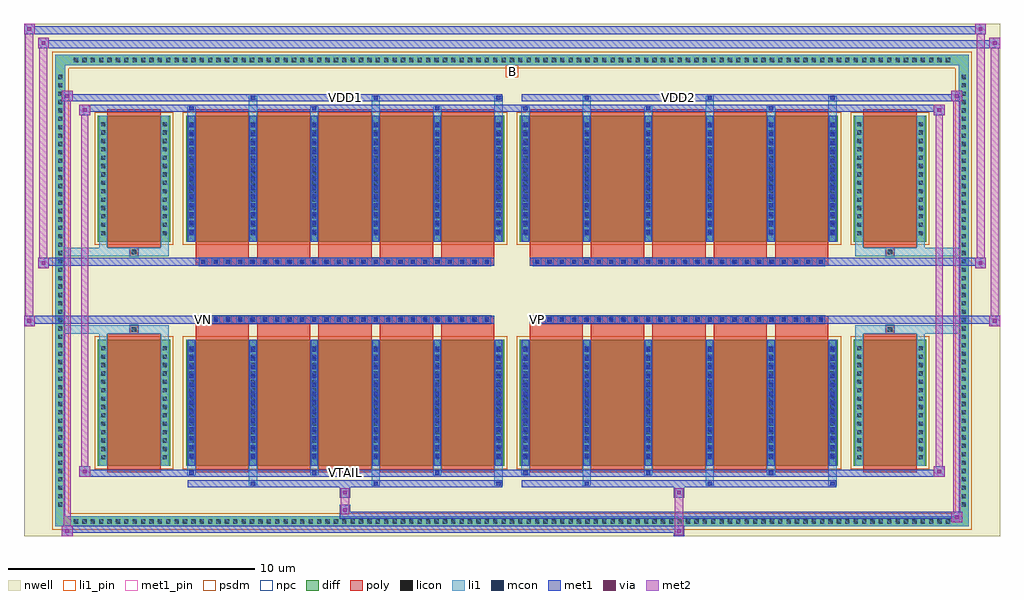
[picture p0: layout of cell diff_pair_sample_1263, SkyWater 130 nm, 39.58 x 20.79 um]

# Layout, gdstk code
import gdstk
lib = gdstk.Library(unit=1e-6, precision=5e-09)
def R(c, l, rs):  # rectangles x0, y0, x1, y1
    for r in rs: c.add(gdstk.rectangle(r[:2], r[2:], *l))
def A(c, l, x, y, w, h, nx, ny, dx, dy):  # array of equal rectangles
    R(c, l, [(x+i*dx, y+j*dy, x+i*dx+w, y+j*dy+h) for i in range(nx) for j in range(ny)])
def P(c, l, *ps):  # polygons
    for p in ps: c.add(gdstk.Polygon(p, *l))
nwell = (64, 20)
diff = (65, 20)
poly = (66, 20)
licon = (66, 44)
li1_pin = (67, 16)
li1 = (67, 20)
mcon = (67, 44)
met1_pin = (68, 16)
met1 = (68, 20)
via = (68, 44)
met2 = (69, 20)
psdm = (94, 20)
npc = (95, 20)

diff_pair_sample_1263 = lib.new_cell('diff_pair_sample_1263')
R(diff_pair_sample_1263, nwell, [(-19.79,-9.96,19.79,10.83), (-17.11,-8.15,-0.01,-0.805), (0.01,-8.15,17.11,-0.805), (-17.11,0.805,-0.01,8.15), (0.01,0.805,17.11,8.15)])
A(diff_pair_sample_1263, diff, -17.885, -9.56, 0.41, 0.41, 105, 2, 0.34, 18.71)
A(diff_pair_sample_1263, diff, -18.52, -8.875, 0.41, 0.41, 1, 52, 0, 0.34)
A(diff_pair_sample_1263, diff, 18.11, -8.875, 0.41, 0.41, 1, 52, 0, 0.34)
R(diff_pair_sample_1263, diff, [(-17.885,-9.56,17.885,-9.15), (-18.52,-8.875,-18.11,8.875), (18.11,-8.875,18.52,8.875), (-16.8,-7.105,-13.86,-1.985), (-13.22,-7.105,-0.32,-1.985), (0.32,-7.105,13.22,-1.985), (13.86,-7.105,16.8,-1.985), (-16.8,1.985,-13.86,7.105), (-13.22,1.985,-0.32,7.105), (0.32,1.985,13.22,7.105), (13.86,1.985,16.8,7.105), (-17.885,9.15,17.885,9.56)])
P(diff_pair_sample_1263, diff, [(18.52,9.56),(-18.52,9.56),(-18.52,-9.15),(-18.11,-9.15),(-18.11,9.15),(18.11,9.15),(18.11,-9.15),(-18.11,-9.15),(-18.52,-9.15),(-18.52,-9.56),(18.52,-9.56)])
A(diff_pair_sample_1263, poly, -12.83, -7.355, 2.16, 5.62, 5, 2, 2.49, 9.09)
A(diff_pair_sample_1263, poly, 0.71, -7.355, 2.16, 5.62, 5, 2, 2.49, 9.09)
A(diff_pair_sample_1263, poly, -12.83, -1.735, 2.16, 0.4, 5, 2, 2.49, 3.07)
A(diff_pair_sample_1263, poly, 0.71, -1.735, 2.16, 0.4, 5, 2, 2.49, 3.07)
A(diff_pair_sample_1263, poly, -12.685, -1.335, 0.33, 0.33, 24, 2, 0.5, 2.34)
A(diff_pair_sample_1263, poly, 0.855, -1.335, 0.33, 0.33, 24, 2, 0.5, 2.34)
R(diff_pair_sample_1263, poly, [(-16.41,-7.355,-14.25,-1.735), (14.25,-7.355,16.41,-1.735), (-15.495,-1.735,-15.165,-1.405), (-15.495,-1.735,-15.165,-1.405), (15.165,-1.735,15.495,-1.405), (15.165,-1.735,15.495,-1.405), (-12.83,-1.335,-0.71,-1.005), (0.71,-1.335,12.83,-1.005), (-12.83,1.005,-0.71,1.335), (0.71,1.005,12.83,1.335), (-15.495,1.405,-15.165,1.735), (-15.495,1.405,-15.165,1.735), (15.165,1.405,15.495,1.735), (15.165,1.405,15.495,1.735), (-16.41,1.735,-14.25,7.355), (14.25,1.735,16.41,7.355)])
A(diff_pair_sample_1263, licon, -17.765, -9.44, 0.17, 0.17, 105, 2, 0.34, 18.71)
A(diff_pair_sample_1263, licon, -18.4, -8.755, 0.17, 0.17, 1, 52, 0, 0.34)
A(diff_pair_sample_1263, licon, 18.23, -8.755, 0.17, 0.17, 1, 52, 0, 0.34)
A(diff_pair_sample_1263, licon, -16.66, -6.84, 0.17, 0.17, 1, 14, 0, 0.34)
A(diff_pair_sample_1263, licon, -14.17, -6.84, 0.17, 0.17, 1, 14, 0, 0.34)
A(diff_pair_sample_1263, licon, -13.08, -6.84, 0.17, 0.17, 6, 14, 2.49, 0.34)
A(diff_pair_sample_1263, licon, 0.46, -6.84, 0.17, 0.17, 6, 14, 2.49, 0.34)
A(diff_pair_sample_1263, licon, 14, -6.84, 0.17, 0.17, 1, 14, 0, 0.34)
A(diff_pair_sample_1263, licon, 16.49, -6.84, 0.17, 0.17, 1, 14, 0, 0.34)
A(diff_pair_sample_1263, licon, -12.605, -1.255, 0.17, 0.17, 24, 2, 0.5, 2.34)
A(diff_pair_sample_1263, licon, 0.935, -1.255, 0.17, 0.17, 24, 2, 0.5, 2.34)
A(diff_pair_sample_1263, licon, -16.66, 2.25, 0.17, 0.17, 1, 14, 0, 0.34)
A(diff_pair_sample_1263, licon, -14.17, 2.25, 0.17, 0.17, 1, 14, 0, 0.34)
A(diff_pair_sample_1263, licon, -13.08, 2.25, 0.17, 0.17, 6, 14, 2.49, 0.34)
A(diff_pair_sample_1263, licon, 0.46, 2.25, 0.17, 0.17, 6, 14, 2.49, 0.34)
A(diff_pair_sample_1263, licon, 14, 2.25, 0.17, 0.17, 1, 14, 0, 0.34)
A(diff_pair_sample_1263, licon, 16.49, 2.25, 0.17, 0.17, 1, 14, 0, 0.34)
R(diff_pair_sample_1263, licon, [(-15.415,-1.655,-15.245,-1.485), (15.245,-1.655,15.415,-1.485), (-15.415,1.485,-15.245,1.655), (15.245,1.485,15.415,1.655)])
R(diff_pair_sample_1263, li1_pin, [(-0.25,8.65,0.25,9.15)])
A(diff_pair_sample_1263, li1, -17.845, -9.52, 0.33, 0.33, 105, 2, 0.34, 18.71)
A(diff_pair_sample_1263, li1, -18.48, -8.835, 0.33, 0.33, 1, 52, 0, 0.34)
A(diff_pair_sample_1263, li1, 18.15, -8.835, 0.33, 0.33, 1, 52, 0, 0.34)
A(diff_pair_sample_1263, li1, -10.67, -7.91, 0.33, 0.805, 3, 2, 4.98, 15.015)
A(diff_pair_sample_1263, li1, -10.59, -7.91, 0.17, 0.17, 3, 2, 4.98, 15.65)
A(diff_pair_sample_1263, li1, 2.87, -7.91, 0.33, 0.805, 3, 2, 4.98, 15.015)
A(diff_pair_sample_1263, li1, 2.95, -7.91, 0.17, 0.17, 3, 2, 4.98, 15.65)
A(diff_pair_sample_1263, li1, -13.16, -7.48, 0.33, 0.375, 3, 2, 4.98, 14.585)
A(diff_pair_sample_1263, li1, -13.08, -7.48, 0.17, 0.17, 3, 2, 4.98, 14.79)
A(diff_pair_sample_1263, li1, 0.38, -7.48, 0.33, 0.375, 3, 2, 4.98, 14.585)
A(diff_pair_sample_1263, li1, 0.46, -7.48, 0.17, 0.17, 3, 2, 4.98, 14.79)
A(diff_pair_sample_1263, li1, -13.16, -7.105, 0.33, 5.12, 6, 2, 2.49, 9.09)
A(diff_pair_sample_1263, li1, 0.38, -7.105, 0.33, 5.12, 6, 2, 2.49, 9.09)
A(diff_pair_sample_1263, li1, -16.74, -6.92, 0.33, 0.33, 1, 14, 0, 0.34)
A(diff_pair_sample_1263, li1, -14.25, -6.92, 0.33, 0.33, 1, 14, 0, 0.34)
A(diff_pair_sample_1263, li1, -13.16, -6.92, 0.33, 0.33, 6, 14, 2.49, 0.34)
A(diff_pair_sample_1263, li1, 0.38, -6.92, 0.33, 0.33, 6, 14, 2.49, 0.34)
A(diff_pair_sample_1263, li1, 13.92, -6.92, 0.33, 0.33, 1, 14, 0, 0.34)
A(diff_pair_sample_1263, li1, 16.41, -6.92, 0.33, 0.33, 1, 14, 0, 0.34)
A(diff_pair_sample_1263, li1, -13.08, -6.79, 0.17, 0.17, 6, 13, 2.49, 0.36)
A(diff_pair_sample_1263, li1, -13.08, -6.79, 0.17, 4.49, 6, 2, 2.49, 9.09)
A(diff_pair_sample_1263, li1, 0.46, -6.79, 0.17, 0.17, 6, 13, 2.49, 0.36)
A(diff_pair_sample_1263, li1, 0.46, -6.79, 0.17, 4.49, 6, 2, 2.49, 9.09)
A(diff_pair_sample_1263, li1, -12.685, -1.335, 0.33, 0.33, 24, 2, 0.5, 2.34)
A(diff_pair_sample_1263, li1, 0.855, -1.335, 0.33, 0.33, 24, 2, 0.5, 2.34)
A(diff_pair_sample_1263, li1, -16.74, 2.17, 0.33, 0.33, 1, 14, 0, 0.34)
A(diff_pair_sample_1263, li1, -14.25, 2.17, 0.33, 0.33, 1, 14, 0, 0.34)
A(diff_pair_sample_1263, li1, -13.16, 2.17, 0.33, 0.33, 6, 14, 2.49, 0.34)
A(diff_pair_sample_1263, li1, 0.38, 2.17, 0.33, 0.33, 6, 14, 2.49, 0.34)
A(diff_pair_sample_1263, li1, 13.92, 2.17, 0.33, 0.33, 1, 14, 0, 0.34)
A(diff_pair_sample_1263, li1, 16.41, 2.17, 0.33, 0.33, 1, 14, 0, 0.34)
A(diff_pair_sample_1263, li1, -13.08, 2.3, 0.17, 0.17, 6, 13, 2.49, 0.36)
A(diff_pair_sample_1263, li1, 0.46, 2.3, 0.17, 0.17, 6, 13, 2.49, 0.36)
R(diff_pair_sample_1263, li1, [(-18.52,-9.56,-18.11,-9.15), (-18.52,-9.56,-18.11,-9.15), (-18.11,-9.56,18.11,-9.15), (18.11,-9.56,18.52,-9.15), (18.11,-9.56,18.52,-9.15), (-18.52,-9.15,-18.11,9.15), (18.11,-9.15,18.52,9.15), (-16.74,-7.105,-16.41,-1.985), (-14.25,-7.105,-13.92,-1.985), (13.92,-7.105,14.25,-1.985), (16.41,-7.105,16.74,-1.985), (-16.74,-1.985,-16.41,-1.405), (-14.25,-1.985,-13.92,-1.405), (13.92,-1.985,14.25,-1.405), (16.41,-1.985,16.74,-1.405), (-18.52,-1.735,-15.495,-1.405), (-16.74,-1.735,-15.495,-1.405), (-15.495,-1.735,-15.165,-1.405), (-15.165,-1.735,-13.92,-1.405), (13.92,-1.735,15.165,-1.405), (15.165,-1.735,15.495,-1.405), (15.165,-1.735,18.52,-1.405), (15.495,-1.735,16.74,-1.405), (-18.52,1.405,-15.495,1.735), (-16.74,1.405,-15.495,1.735), (-16.74,1.405,-16.41,1.985), (-15.495,1.405,-15.165,1.735), (-15.165,1.405,-13.92,1.735), (-14.25,1.405,-13.92,1.985), (13.92,1.405,15.165,1.735), (13.92,1.405,14.25,1.985), (15.165,1.405,15.495,1.735), (15.165,1.405,18.52,1.735), (15.495,1.405,16.74,1.735), (16.41,1.405,16.74,1.985), (-16.74,1.985,-16.41,7.105), (-14.25,1.985,-13.92,7.105), (13.92,1.985,14.25,7.105), (16.41,1.985,16.74,7.105), (-18.52,9.15,-18.11,9.56), (-18.52,9.15,-18.11,9.56), (-18.11,9.15,18.11,9.56), (18.11,9.15,18.52,9.56), (18.11,9.15,18.52,9.56)])
A(diff_pair_sample_1263, mcon, -10.59, -7.91, 0.17, 0.17, 3, 2, 4.98, 15.65)
A(diff_pair_sample_1263, mcon, 2.95, -7.91, 0.17, 0.17, 3, 2, 4.98, 15.65)
A(diff_pair_sample_1263, mcon, -13.08, -7.48, 0.17, 0.17, 3, 2, 4.98, 14.79)
A(diff_pair_sample_1263, mcon, 0.46, -7.48, 0.17, 0.17, 3, 2, 4.98, 14.79)
A(diff_pair_sample_1263, mcon, -13.08, -6.79, 0.17, 0.17, 6, 13, 2.49, 0.36)
A(diff_pair_sample_1263, mcon, 0.46, -6.79, 0.17, 0.17, 6, 13, 2.49, 0.36)
A(diff_pair_sample_1263, mcon, -12.605, -1.255, 0.17, 0.17, 24, 2, 0.5, 2.34)
A(diff_pair_sample_1263, mcon, 0.935, -1.255, 0.17, 0.17, 24, 2, 0.5, 2.34)
A(diff_pair_sample_1263, mcon, -13.08, 2.3, 0.17, 0.17, 6, 13, 2.49, 0.36)
A(diff_pair_sample_1263, mcon, 0.46, 2.3, 0.17, 0.17, 6, 13, 2.49, 0.36)
R(diff_pair_sample_1263, met1_pin, [(-6.905,-7.52,-6.635,-7.25), (-12.655,-1.295,-12.385,-1.025), (0.885,-1.295,1.155,-1.025), (-6.905,7.7,-6.635,7.97), (6.635,7.7,6.905,7.97)])
A(diff_pair_sample_1263, met1, -10.65, -7.97, 0.29, 0.29, 3, 2, 4.98, 15.65)
A(diff_pair_sample_1263, met1, 2.89, -7.97, 0.29, 0.29, 3, 2, 4.98, 15.65)
A(diff_pair_sample_1263, met1, -13.14, -7.54, 0.29, 0.29, 3, 2, 4.98, 14.79)
A(diff_pair_sample_1263, met1, 0.4, -7.54, 0.29, 0.29, 3, 2, 4.98, 14.79)
A(diff_pair_sample_1263, met1, -13.14, -7.105, 0.29, 5.12, 6, 2, 2.49, 9.09)
A(diff_pair_sample_1263, met1, 0.4, -7.105, 0.29, 5.12, 6, 2, 2.49, 9.09)
A(diff_pair_sample_1263, met1, -13.14, -6.85, 0.29, 0.29, 6, 13, 2.49, 0.36)
A(diff_pair_sample_1263, met1, 0.4, -6.85, 0.29, 0.29, 6, 13, 2.49, 0.36)
A(diff_pair_sample_1263, met1, -12.665, -1.315, 0.29, 0.29, 24, 2, 0.5, 2.34)
A(diff_pair_sample_1263, met1, 0.875, -1.315, 0.29, 0.29, 24, 2, 0.5, 2.34)
A(diff_pair_sample_1263, met1, -13.14, 2.24, 0.29, 0.29, 6, 13, 2.49, 0.36)
A(diff_pair_sample_1263, met1, 0.4, 2.24, 0.29, 0.29, 6, 13, 2.49, 0.36)
R(diff_pair_sample_1263, met1, [(-18.25,-9.96,-17.82,-9.53), (6.555,-9.96,6.985,-9.53), (-18.25,-9.82,6.985,-9.53), (17.82,-9.39,18.25,-8.96), (-6.985,-9.25,18.25,-8.96), (-6.985,-9.11,-6.555,-8.68), (-6.985,-8.4,-6.555,-7.97), (6.555,-8.4,6.985,-7.97), (-13.14,-7.97,-0.4,-7.68), (0.4,-7.97,13.14,-7.68), (-17.54,-7.54,-17.11,-7.11), (-17.54,-7.54,-13.14,-7.25), (-13.14,-7.54,-0.4,-7.25), (-0.4,-7.54,0.4,-7.25), (0.4,-7.54,13.14,-7.25), (13.14,-7.54,17.54,-7.25), (17.11,-7.54,17.54,-7.11), (-19.79,-1.435,-19.36,-1.005), (19.36,-1.435,19.79,-1.005), (-19.79,-1.335,-0.71,-1.005), (-12.83,-1.335,-0.71,-1.005), (0.71,-1.335,12.83,-1.005), (0.71,-1.335,19.79,-1.005), (-19.22,0.905,-18.79,1.335), (18.79,0.905,19.22,1.335), (-19.22,1.005,-12.83,1.335), (-12.83,1.005,-0.71,1.335), (0.71,1.005,12.83,1.335), (12.83,1.005,19.22,1.335), (-17.54,7.11,-17.11,7.54), (17.11,7.11,17.54,7.54), (-17.54,7.25,-13.14,7.54), (-13.14,7.25,-0.4,7.54), (-0.4,7.25,0.4,7.54), (0.4,7.25,13.14,7.54), (13.14,7.25,17.54,7.54), (-18.25,7.68,-17.82,8.11), (-18.25,7.68,-13.14,7.97), (-13.14,7.68,-0.4,7.97), (0.4,7.68,13.14,7.97), (13.14,7.68,18.25,7.97), (17.82,7.68,18.25,8.11), (-19.22,9.83,-18.79,10.26), (-19.22,9.83,-17.11,10.16), (-17.11,9.83,17.11,10.16), (17.11,9.83,19.79,10.16), (19.36,9.83,19.79,10.26), (-19.79,10.4,-19.36,10.83), (-19.79,10.4,-17.11,10.73), (-17.11,10.4,17.11,10.73), (17.11,10.4,19.22,10.73), (18.79,10.4,19.22,10.83)])
R(diff_pair_sample_1263, via, [(-18.11,-9.82,-17.96,-9.67), (6.695,-9.82,6.845,-9.67), (17.96,-9.25,18.11,-9.1), (-6.845,-8.97,-6.695,-8.82), (-6.845,-8.26,-6.695,-8.11), (6.695,-8.26,6.845,-8.11), (-17.4,-7.4,-17.25,-7.25), (17.25,-7.4,17.4,-7.25), (-19.65,-1.295,-19.5,-1.145), (19.5,-1.295,19.65,-1.145), (-19.08,1.045,-18.93,1.195), (18.93,1.045,19.08,1.195), (-17.4,7.25,-17.25,7.4), (17.25,7.25,17.4,7.4), (-18.11,7.82,-17.96,7.97), (17.96,7.82,18.11,7.97), (-19.08,9.97,-18.93,10.12), (19.5,9.97,19.65,10.12), (-19.65,10.54,-19.5,10.69), (18.93,10.54,19.08,10.69)])
R(diff_pair_sample_1263, met2, [(-18.25,-9.96,-17.82,-9.53), (-18.18,-9.96,-17.89,8.11), (-17.89,-9.96,-17.82,-9.53), (-18.2,-9.91,-17.87,-9.58), (6.605,-9.91,6.935,-9.58), (6.605,-9.58,6.935,-8.35), (17.82,-9.39,18.25,-8.96), (17.89,-9.39,18.18,8.11), (18.18,-9.39,18.25,-8.96), (17.87,-9.34,18.2,-9.01), (-6.935,-9.06,-6.605,-8.73), (-6.935,-8.73,-6.605,-8.35), (-6.935,-8.35,-6.605,-8.02), (6.605,-8.35,6.935,-8.02), (-17.54,-7.54,-17.11,-7.11), (-17.47,-7.54,-17.18,7.54), (-17.18,-7.54,-17.11,-7.11), (17.11,-7.54,17.54,-7.11), (17.18,-7.54,17.47,7.54), (17.47,-7.54,17.54,-7.11), (-17.49,-7.49,-17.16,-7.16), (17.16,-7.49,17.49,-7.16), (-19.79,-1.435,-19.36,-1.005), (-19.74,-1.435,-19.41,10.83), (-19.41,-1.435,-19.36,-1.005), (19.36,-1.435,19.79,-1.005), (19.41,-1.435,19.74,10.26), (19.74,-1.435,19.79,-1.005), (-19.74,-1.385,-19.41,-1.055), (19.41,-1.385,19.74,-1.055), (-19.22,0.905,-18.79,1.335), (-19.17,0.905,-18.84,10.26), (-18.84,0.905,-18.79,1.335), (18.79,0.905,19.22,1.335), (18.84,0.905,19.17,10.83), (19.17,0.905,19.22,1.335), (-19.17,0.955,-18.84,1.285), (18.84,0.955,19.17,1.285), (-17.54,7.11,-17.11,7.54), (-17.18,7.11,-17.11,7.54), (17.11,7.11,17.54,7.54), (17.47,7.11,17.54,7.54), (-17.49,7.16,-17.16,7.49), (17.16,7.16,17.49,7.49), (-18.25,7.68,-17.82,8.11), (-17.89,7.68,-17.82,8.11), (17.82,7.68,18.25,8.11), (18.18,7.68,18.25,8.11), (-18.2,7.73,-17.87,8.06), (17.87,7.73,18.2,8.06), (-19.22,9.83,-18.79,10.26), (-18.84,9.83,-18.79,10.26), (19.36,9.83,19.79,10.26), (19.74,9.83,19.79,10.26), (-19.17,9.88,-18.84,10.21), (19.41,9.88,19.74,10.21), (-19.79,10.4,-19.36,10.83), (-19.41,10.4,-19.36,10.83), (18.79,10.4,19.22,10.83), (19.17,10.4,19.22,10.83), (-19.74,10.45,-19.41,10.78), (18.84,10.45,19.17,10.78)])
R(diff_pair_sample_1263, psdm, [(-16.93,-7.235,-13.73,-1.855), (-13.35,-7.235,-0.19,-1.855), (0.19,-7.235,13.35,-1.855), (13.73,-7.235,16.93,-1.855), (-16.93,1.855,-13.73,7.235), (-13.35,1.855,-0.19,7.235), (0.19,1.855,13.35,7.235), (13.73,1.855,16.93,7.235)])
P(diff_pair_sample_1263, psdm, [(18.65,9.69),(-18.65,9.69),(-18.65,-9.02),(-17.98,-9.02),(-17.98,9.02),(17.98,9.02),(17.98,-9.02),(-17.98,-9.02),(-18.65,-9.02),(-18.65,-9.69),(18.65,-9.69)])
A(diff_pair_sample_1263, npc, -12.705, -1.355, 0.37, 0.37, 24, 2, 0.5, 2.34)
A(diff_pair_sample_1263, npc, 0.835, -1.355, 0.37, 0.37, 24, 2, 0.5, 2.34)
R(diff_pair_sample_1263, npc, [(-15.515,-1.755,-15.145,-1.385), (15.145,-1.755,15.515,-1.385), (-12.705,-1.355,-11.835,-0.985), (-12.705,-1.355,-11.835,-0.985), (-12.205,-1.355,-11.335,-0.985), (-12.205,-1.355,-11.335,-0.985), (-11.705,-1.355,-10.835,-0.985), (-11.705,-1.355,-10.835,-0.985), (-11.205,-1.355,-10.335,-0.985), (-11.205,-1.355,-10.335,-0.985), (-10.705,-1.355,-9.835,-0.985), (-10.705,-1.355,-9.835,-0.985), (-10.205,-1.355,-9.335,-0.985), (-10.205,-1.355,-9.335,-0.985), (-9.705,-1.355,-8.835,-0.985), (-9.705,-1.355,-8.835,-0.985), (-9.205,-1.355,-8.335,-0.985), (-9.205,-1.355,-8.335,-0.985), (-8.705,-1.355,-7.835,-0.985), (-8.705,-1.355,-7.835,-0.985), (-8.205,-1.355,-7.335,-0.985), (-8.205,-1.355,-7.335,-0.985), (-7.705,-1.355,-6.835,-0.985), (-7.705,-1.355,-6.835,-0.985), (-7.205,-1.355,-6.335,-0.985), (-7.205,-1.355,-6.335,-0.985), (-6.705,-1.355,-5.835,-0.985), (-6.705,-1.355,-5.835,-0.985), (-6.205,-1.355,-5.335,-0.985), (-6.205,-1.355,-5.335,-0.985), (-5.705,-1.355,-4.835,-0.985), (-5.705,-1.355,-4.835,-0.985), (-5.205,-1.355,-4.335,-0.985), (-5.205,-1.355,-4.335,-0.985), (-4.705,-1.355,-3.835,-0.985), (-4.705,-1.355,-3.835,-0.985), (-4.205,-1.355,-3.335,-0.985), (-4.205,-1.355,-3.335,-0.985), (-3.705,-1.355,-2.835,-0.985), (-3.705,-1.355,-2.835,-0.985), (-3.205,-1.355,-2.335,-0.985), (-3.205,-1.355,-2.335,-0.985), (-2.705,-1.355,-1.835,-0.985), (-2.705,-1.355,-1.835,-0.985), (-2.205,-1.355,-1.335,-0.985), (-2.205,-1.355,-1.335,-0.985), (-1.705,-1.355,-0.835,-0.985), (-1.705,-1.355,-0.835,-0.985), (0.835,-1.355,1.705,-0.985), (0.835,-1.355,1.705,-0.985), (1.335,-1.355,2.205,-0.985), (1.335,-1.355,2.205,-0.985), (1.835,-1.355,2.705,-0.985), (1.835,-1.355,2.705,-0.985), (2.335,-1.355,3.205,-0.985), (2.335,-1.355,3.205,-0.985), (2.835,-1.355,3.705,-0.985), (2.835,-1.355,3.705,-0.985), (3.335,-1.355,4.205,-0.985), (3.335,-1.355,4.205,-0.985), (3.835,-1.355,4.705,-0.985), (3.835,-1.355,4.705,-0.985), (4.335,-1.355,5.205,-0.985), (4.335,-1.355,5.205,-0.985), (4.835,-1.355,5.705,-0.985), (4.835,-1.355,5.705,-0.985), (5.335,-1.355,6.205,-0.985), (5.335,-1.355,6.205,-0.985), (5.835,-1.355,6.705,-0.985), (5.835,-1.355,6.705,-0.985), (6.335,-1.355,7.205,-0.985), (6.335,-1.355,7.205,-0.985), (6.835,-1.355,7.705,-0.985), (6.835,-1.355,7.705,-0.985), (7.335,-1.355,8.205,-0.985), (7.335,-1.355,8.205,-0.985), (7.835,-1.355,8.705,-0.985), (7.835,-1.355,8.705,-0.985), (8.335,-1.355,9.205,-0.985), (8.335,-1.355,9.205,-0.985), (8.835,-1.355,9.705,-0.985), (8.835,-1.355,9.705,-0.985), (9.335,-1.355,10.205,-0.985), (9.335,-1.355,10.205,-0.985), (9.835,-1.355,10.705,-0.985), (9.835,-1.355,10.705,-0.985), (10.335,-1.355,11.205,-0.985), (10.335,-1.355,11.205,-0.985), (10.835,-1.355,11.705,-0.985), (10.835,-1.355,11.705,-0.985), (11.335,-1.355,12.205,-0.985), (11.335,-1.355,12.205,-0.985), (11.835,-1.355,12.705,-0.985), (11.835,-1.355,12.705,-0.985), (-12.705,0.985,-11.835,1.355), (-12.705,0.985,-11.835,1.355), (-12.205,0.985,-11.335,1.355), (-12.205,0.985,-11.335,1.355), (-11.705,0.985,-10.835,1.355), (-11.705,0.985,-10.835,1.355), (-11.205,0.985,-10.335,1.355), (-11.205,0.985,-10.335,1.355), (-10.705,0.985,-9.835,1.355), (-10.705,0.985,-9.835,1.355), (-10.205,0.985,-9.335,1.355), (-10.205,0.985,-9.335,1.355), (-9.705,0.985,-8.835,1.355), (-9.705,0.985,-8.835,1.355), (-9.205,0.985,-8.335,1.355), (-9.205,0.985,-8.335,1.355), (-8.705,0.985,-7.835,1.355), (-8.705,0.985,-7.835,1.355), (-8.205,0.985,-7.335,1.355), (-8.205,0.985,-7.335,1.355), (-7.705,0.985,-6.835,1.355), (-7.705,0.985,-6.835,1.355), (-7.205,0.985,-6.335,1.355), (-7.205,0.985,-6.335,1.355), (-6.705,0.985,-5.835,1.355), (-6.705,0.985,-5.835,1.355), (-6.205,0.985,-5.335,1.355), (-6.205,0.985,-5.335,1.355), (-5.705,0.985,-4.835,1.355), (-5.705,0.985,-4.835,1.355), (-5.205,0.985,-4.335,1.355), (-5.205,0.985,-4.335,1.355), (-4.705,0.985,-3.835,1.355), (-4.705,0.985,-3.835,1.355), (-4.205,0.985,-3.335,1.355), (-4.205,0.985,-3.335,1.355), (-3.705,0.985,-2.835,1.355), (-3.705,0.985,-2.835,1.355), (-3.205,0.985,-2.335,1.355), (-3.205,0.985,-2.335,1.355), (-2.705,0.985,-1.835,1.355), (-2.705,0.985,-1.835,1.355), (-2.205,0.985,-1.335,1.355), (-2.205,0.985,-1.335,1.355), (-1.705,0.985,-0.835,1.355), (-1.705,0.985,-0.835,1.355), (0.835,0.985,1.705,1.355), (0.835,0.985,1.705,1.355), (1.335,0.985,2.205,1.355), (1.335,0.985,2.205,1.355), (1.835,0.985,2.705,1.355), (1.835,0.985,2.705,1.355), (2.335,0.985,3.205,1.355), (2.335,0.985,3.205,1.355), (2.835,0.985,3.705,1.355), (2.835,0.985,3.705,1.355), (3.335,0.985,4.205,1.355), (3.335,0.985,4.205,1.355), (3.835,0.985,4.705,1.355), (3.835,0.985,4.705,1.355), (4.335,0.985,5.205,1.355), (4.335,0.985,5.205,1.355), (4.835,0.985,5.705,1.355), (4.835,0.985,5.705,1.355), (5.335,0.985,6.205,1.355), (5.335,0.985,6.205,1.355), (5.835,0.985,6.705,1.355), (5.835,0.985,6.705,1.355), (6.335,0.985,7.205,1.355), (6.335,0.985,7.205,1.355), (6.835,0.985,7.705,1.355), (6.835,0.985,7.705,1.355), (7.335,0.985,8.205,1.355), (7.335,0.985,8.205,1.355), (7.835,0.985,8.705,1.355), (7.835,0.985,8.705,1.355), (8.335,0.985,9.205,1.355), (8.335,0.985,9.205,1.355), (8.835,0.985,9.705,1.355), (8.835,0.985,9.705,1.355), (9.335,0.985,10.205,1.355), (9.335,0.985,10.205,1.355), (9.835,0.985,10.705,1.355), (9.835,0.985,10.705,1.355), (10.335,0.985,11.205,1.355), (10.335,0.985,11.205,1.355), (10.835,0.985,11.705,1.355), (10.835,0.985,11.705,1.355), (11.335,0.985,12.205,1.355), (11.335,0.985,12.205,1.355), (11.835,0.985,12.705,1.355), (11.835,0.985,12.705,1.355), (-15.515,1.385,-15.145,1.755), (15.145,1.385,15.515,1.755)])
diff_pair_sample_1263.add(gdstk.Label('VTAIL', (-6.77,-7.385), layer=68, texttype=5))
diff_pair_sample_1263.add(gdstk.Label('VN', (-12.52,-1.16), layer=68, texttype=5))
diff_pair_sample_1263.add(gdstk.Label('VP', (1.02,-1.16), layer=68, texttype=5))
diff_pair_sample_1263.add(gdstk.Label('B', (0,8.9), layer=67, texttype=5))
diff_pair_sample_1263.add(gdstk.Label('VDD2', (6.77,7.835), layer=68, texttype=5))
diff_pair_sample_1263.add(gdstk.Label('VDD1', (-6.77,7.835), layer=68, texttype=5))

lib.write_gds('diff_pair_sample_1263.gds')
